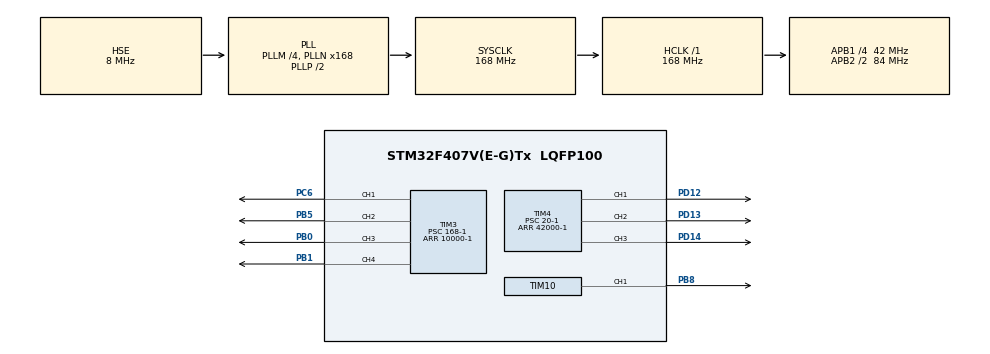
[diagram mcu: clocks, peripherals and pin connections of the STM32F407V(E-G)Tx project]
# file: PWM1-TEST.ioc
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Mcu.Family=STM32F4
RCC.PLLSourceVirtual=RCC_PLLSOURCE_HSE
TIM4.Channel-PWM\ Generation1\ CH1=TIM_CHANNEL_1
TIM10.Prescaler=336-1
TIM4.Pulse-PWM\ Generation3\ CH3=5250-1
PH0-OSC_IN.Signal=RCC_OSC_IN
RCC.CortexFreq_Value=168000000
PC6.Signal=S_TIM3_CH1
RCC.APB1CLKDivider=RCC_HCLK_DIV4
SH.S_TIM3_CH3.0=TIM3_CH3,PWM Generation3 CH3
TIM3.Channel-PWM\ Generation4\ CH4=TIM_CHANNEL_4
RCC.SYSCLKSource=RCC_SYSCLKSOURCE_PLLCLK
ProjectManager.StackSize=0x400
PD13.Signal=S_TIM4_CH2
TIM3.Channel-PWM\ Generation3\ CH3=TIM_CHANNEL_3
TIM3.Pulse-PWM\ Generation1\ CH1=5000 - 1
ProjectManager.TargetToolchain=STM32CubeIDE
SH.S_TIM4_CH3.0=TIM4_CH3,PWM Generation3 CH3
RCC.HCLKFreq_Value=168000000
RCC.APB2TimFreq_Value=168000000
TIM3.Period=10000-1
TIM4.Pulse-PWM\ Generation1\ CH1=21000-1
VP_TIM10_VS_ClockSourceINT.Mode=Enable_Timer
TIM4.Prescaler=20-1
RCC.LSE_VALUE=32768
RCC.AHBFreq_Value=168000000
PH0-OSC_IN.Mode=HSE-External-Oscillator
TIM3.Channel-PWM\ Generation1\ CH1=TIM_CHANNEL_1
TIM3.Pulse-PWM\ Generation3\ CH3=1250-1
SH.S_TIM3_CH2.0=TIM3_CH2,PWM Generation2 CH2
RCC.HSE_VALUE=8000000
TIM4.Channel-PWM\ Generation3\ CH3=TIM_CHANNEL_3
board=custom
RCC.VCOOutputFreq_Value=336000000
TIM10.Channel=TIM_CHANNEL_1
TIM10.Period=10000-1
TIM4.Channel-PWM\ Generation2\ CH2=TIM_CHANNEL_2
RCC.APB2Freq_Value=84000000
TIM10.Pulse=100
TIM3.Prescaler=168-1
PH1-OSC_OUT.Signal=RCC_OSC_OUT
SH.S_TIM4_CH2.0=TIM4_CH2,PWM Generation2 CH2
SH.S_TIM3_CH1.0=TIM3_CH1,PWM Generation1 CH1
TIM4.Period=42000-1
Mcu.Name=STM32F407V(E-G)Tx
PD14.Signal=S_TIM4_CH3
PH1-OSC_OUT.Mode=HSE-External-Oscillator
RCC.48MHZClocksFreq_Value=84000000
RCC.SYSCLKFreq_VALUE=168000000
Mcu.Package=LQFP100
PB5.Signal=S_TIM3_CH2
PB1.Signal=S_TIM3_CH4
PD12.Signal=S_TIM4_CH1
SH.S_TIM10_CH1.0=TIM10_CH1,PWM Generation1 CH1
ProjectManager.HeapSize=0x200
RCC.HSI_VALUE=16000000
VP_TIM4_VS_ClockSourceINT.Mode=Internal
NVIC.PriorityGroup=NVIC_PRIORITYGROUP_4
RCC.APB2CLKDivider=RCC_HCLK_DIV2
TIM3.Channel-PWM\ Generation2\ CH2=TIM_CHANNEL_2
RCC.PLLM=4
RCC.PLLN=168
SH.S_TIM4_CH1.0=TIM4_CH1,PWM Generation1 CH1
RCC.APB1TimFreq_Value=84000000
PB8.Signal=S_TIM10_CH1
TIM3.Pulse-PWM\ Generation2\ CH2=2500-1
RCC.APB1Freq_Value=42000000
PB0.Signal=S_TIM3_CH3
TIM3.Pulse-PWM\ Generation4\ CH4=100
TIM4.Pulse-PWM\ Generation2\ CH2=10500-1
VP_TIM3_VS_ClockSourceINT.Mode=Internal
SH.S_TIM3_CH4.0=TIM3_CH4,PWM Generation4 CH4

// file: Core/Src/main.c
/* USER CODE BEGIN Header */
/**
  ******************************************************************************
  * @file           : main.c
  * @brief          : Main program body
  ******************************************************************************
  * @attention
  *
  * <h2><center>&copy; Copyright (c) 2021 STMicroelectronics.
  * All rights reserved.</center></h2>
  *
  * This software component is licensed by ST under BSD 3-Clause license,
  * the "License"; You may not use this file except in compliance with the
  * License. You may obtain a copy of the License at:
  *                        opensource.org/licenses/BSD-3-Clause
  *
  ******************************************************************************
  */
/* USER CODE END Header */
#include "main.h"
#include "tim.h"
#include "gpio.h"

void SystemClock_Config(void);

int main(void)
{

  /* MCU Configuration--------------------------------------------------------*/

  /* Reset of all peripherals, Initializes the Flash interface and the Systick. */
  HAL_Init();

  /* Configure the system clock */
  SystemClock_Config();

  /* Initialize all configured peripherals */
  MX_GPIO_Init();
  MX_TIM3_Init();
  MX_TIM4_Init();
  MX_TIM10_Init();
  /* USER CODE BEGIN 2 */

  HAL_TIM_PWM_Start(&htim3, TIM_CHANNEL_1);
  HAL_TIM_PWM_Start(&htim3, TIM_CHANNEL_2);
  HAL_TIM_PWM_Start(&htim3, TIM_CHANNEL_3);

  HAL_TIM_PWM_Start(&htim4, TIM_CHANNEL_1);
  HAL_TIM_PWM_Start(&htim4, TIM_CHANNEL_2);
  HAL_TIM_PWM_Start(&htim4, TIM_CHANNEL_3);

  HAL_TIM_PWM_Start(&htim10, TIM_CHANNEL_1);
  /* USER CODE END 2 */

  /* Infinite loop */
  /* USER CODE BEGIN WHILE */

  uint16_t ccr = 0;
  uint16_t ccr2 = 0;

  while (1)
  {

	  __HAL_TIM_SET_COMPARE(&htim4, TIM_CHANNEL_1, ccr);  //메크�?? ?��?��
	  //__HAL_TIM_SET_COMPARE(&htim4, TIM_CHANNEL_2, ccr2);
	  TIM4->CCR2 = ccr2;
	  ccr += 1000;
	  ccr2 += 500;
	  if (ccr > TIM4->ARR ) ccr = 0;
	  if (ccr2 > TIM4->ARR) ccr2 = 0;
	  HAL_Delay(50);

    /* USER CODE END WHILE */

  }
}

void SystemClock_Config(void)
{
  RCC_OscInitTypeDef RCC_OscInitStruct = {0};
  RCC_ClkInitTypeDef RCC_ClkInitStruct = {0};

  /** Configure the main internal regulator output voltage
  */
  __HAL_RCC_PWR_CLK_ENABLE();
  __HAL_PWR_VOLTAGESCALING_CONFIG(PWR_REGULATOR_VOLTAGE_SCALE1);
  /** Initializes the RCC Oscillators according to the specified parameters
  * in the RCC_OscInitTypeDef structure.
  */
  RCC_OscInitStruct.OscillatorType = RCC_OSCILLATORTYPE_HSE;
  RCC_OscInitStruct.HSEState = RCC_HSE_ON;
  RCC_OscInitStruct.PLL.PLLState = RCC_PLL_ON;
  RCC_OscInitStruct.PLL.PLLSource = RCC_PLLSOURCE_HSE;
  RCC_OscInitStruct.PLL.PLLM = 4;
  RCC_OscInitStruct.PLL.PLLN = 168;
  RCC_OscInitStruct.PLL.PLLP = RCC_PLLP_DIV2;
  RCC_OscInitStruct.PLL.PLLQ = 4;
  if (HAL_RCC_OscConfig(&RCC_OscInitStruct) != HAL_OK)
  {
    Error_Handler();
  }
  /** Initializes the CPU, AHB and APB buses clocks
  */
  RCC_ClkInitStruct.ClockType = RCC_CLOCKTYPE_HCLK|RCC_CLOCKTYPE_SYSCLK
                              |RCC_CLOCKTYPE_PCLK1|RCC_CLOCKTYPE_PCLK2;
  RCC_ClkInitStruct.SYSCLKSource = RCC_SYSCLKSOURCE_PLLCLK;
  RCC_ClkInitStruct.AHBCLKDivider = RCC_SYSCLK_DIV1;
  RCC_ClkInitStruct.APB1CLKDivider = RCC_HCLK_DIV4;
  RCC_ClkInitStruct.APB2CLKDivider = RCC_HCLK_DIV2;

  if (HAL_RCC_ClockConfig(&RCC_ClkInitStruct, FLASH_LATENCY_5) != HAL_OK)
  {
    Error_Handler();
  }
}

void Error_Handler(void)
{
  __disable_irq();
  while (1)
  {
  }
}

/************************ (C) COPYRIGHT STMicroelectronics *****END OF FILE****/
